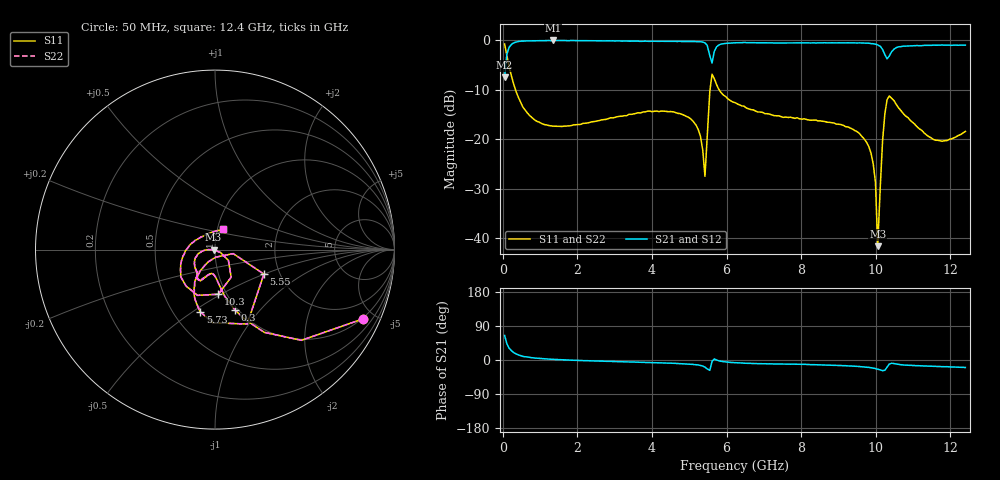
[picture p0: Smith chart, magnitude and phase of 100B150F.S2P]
!  American Technical Ceramics  Date:  3/13/98
!  One Norden Lane
!  Huntington Station,  NY.  11746-2102
!  Tel:  (516) 547-5700  Fax:  (516) 547-5748
!  Part Number  100b150f
!  Description: Porcelain, High Q, Low ESR
!  Application: Bypass, Coupling, Timing, Feedback
!  Tuning, Impedance Match, Blocking
# GHZ S DB R 50
! Freq  |S11|  S11 Ph  |S21|  S21 Ph  |S12|  S12 Ph  |S22|  S22 Ph
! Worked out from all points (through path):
!   201 points, 50 MHz to 12.4 GHz, reference 50 ohm
!   highest |S21| = -0.09 dB at 1.35 GHz (marker M1); lowest = -7.5 dB at 50 MHz (marker M2)
!   group delay of S21, straight-line fit = 6.4 ps
!   lowest |S11| = -41.6 dB at 10.05 GHz (marker M3), VSWR 1.02, Z = 49.2 - j0.112 ohm
!   |S11| at or under -10 dB: 340.4 MHz to 5.556 GHz (5.215 GHz wide, 177 % of centre); 5.795 GHz to end of sweep
!   |S22| runs from -41.6 to -0.8 dB; largest |S21 - S12| = 0
!   S11 on the Smith chart (normalised r, x): 50 MHz: 0.94, -4.32; 300 MHz: 0.97, -0.74; 5.55 GHz: 1.66, -0.50; 5.73 GHz: 0.68, -0.54; 10.3 GHz: 0.92, -0.49; 12.4 GHz: 1.06, +0.24
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0.05  -0.80 -25.0  -7.48 64.8  -7.48 64.8  -0.80 -25.0
0.17  -5.41 -59.2  -1.48 31.2  -1.48 31.2  -5.41 -59.2
0.3  -9.07 -71.8  -0.56 19.2  -0.56 19.2  -9.07 -71.8
1.35  -17.37 -95.4  -0.09 1.7  -0.09 1.7  -17.37 -95.4
2.15  -16.82 -103.6  -0.13 -1.6  -0.13 -1.6  -16.82 -103.6
4.19  -14.44 -119.0  -0.27 -7.5  -0.27 -7.5  -14.44 -119.0
5.18  -17.14 -124.6  -0.33 -12.5  -0.33 -12.5  -17.14 -124.6
5.3  -19.44 -122.9  -0.35 -14.4  -0.35 -14.4  -19.44 -122.9
5.42  -27.48 -83.9  -0.57 -18.9  -0.57 -18.9  -27.48 -83.9
5.55  -10.33 -26.6  -3.17 -27.4  -3.17 -27.4  -10.33 -26.6
5.61  -6.90 -66.6  -4.63 -3.6  -4.63 -3.6  -6.90 -66.6
5.73  -8.97 -103.4  -1.37 0.1  -1.37 0.1  -8.97 -103.4
6.23  -12.64 -119.2  -0.56 -7.1  -0.56 -7.1  -12.64 -119.2
8.32  -16.16 -132.6  -0.56 -12.3  -0.56 -12.3  -16.16 -132.6
9.81  -21.46 -168.8  -0.65 -19.6  -0.65 -19.6  -21.46 -168.8
9.99  -28.72 -179.9  -0.84 -22.7  -0.84 -22.7  -28.72 -179.9
10.05  -41.57 -172.2  -0.99 -24.1  -0.99 -24.1  -41.57 -172.2
10.18  -20.37 -38.8  -1.90 -28.2  -1.90 -28.2  -20.37 -38.8
10.3  -12.06 -85.7  -3.79 -19.1  -3.79 -19.1  -12.06 -85.7
10.36  -11.28 -111.0  -3.24 -10.7  -3.24 -10.7  -11.28 -111.0
11.54  -20.04 132.1  -1.04 -16.6  -1.04 -16.6  -20.04 132.1
12.4  -18.43 69.3  -1.04 -19.8  -1.04 -19.8  -18.43 69.3
